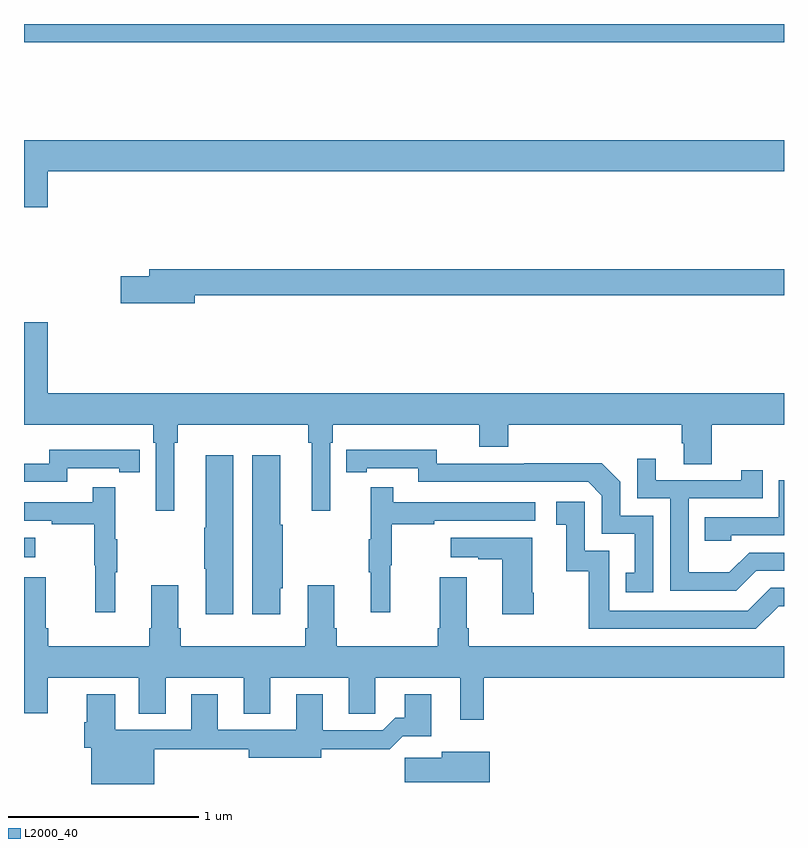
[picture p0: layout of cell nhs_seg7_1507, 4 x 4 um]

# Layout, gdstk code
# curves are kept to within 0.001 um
import gdstk
lib = gdstk.Library(unit=1e-6, precision=1e-09)
def R(c, l, rs):  # rectangles x0, y0, x1, y1
    for r in rs: c.add(gdstk.rectangle(r[:2], r[2:], *l))
def P(c, l, *ps):  # polygons
    for p in ps: c.add(gdstk.Polygon(p, *l))
L2000_40 = (2000, 40)

nhs_seg7_1507 = lib.new_cell('nhs_seg7_1507')
R(nhs_seg7_1507, L2000_40, [(213,1057.193,213.058,1057.297), (213,1059.904,217,1060)])
P(nhs_seg7_1507, L2000_40, [(213.124,1059.224),(217,1059.224),(217,1059.388),(213,1059.388),(213,1059.036),(213.124,1059.036)],
  [(213.898,1058.572),(217,1058.572),(217,1058.708),(213.659,1058.708),(213.659,1058.672),(213.51,1058.672),(213.51,1058.53),(213.898,1058.53)],
  [(213.79,1057.796),(213.809,1057.796),(213.809,1057.892),(214.495,1057.892),(214.495,1057.796),(214.514,1057.796),(214.514,1057.437),(214.611,1057.437),(214.611,1057.796),(214.625,1057.796),(214.625,1057.892),(215.396,1057.892),(215.396,1057.775),(215.549,1057.775),(215.549,1057.892),(216.461,1057.892),(216.461,1057.794),(216.473,1057.794),(216.473,1057.684),(216.621,1057.684),(216.621,1057.892),(217,1057.892),(217,1058.056),(213.124,1058.056),(213.124,1058.431),(213,1058.431),(213,1057.892),(213.68,1057.892),(213.68,1057.796),(213.693,1057.796),(213.693,1057.437),(213.79,1057.437)],
  [(213.228,1057.662),(213.5,1057.662),(213.5,1057.642),(213.608,1057.642),(213.608,1057.758),(213.5,1057.758),(213.5,1057.759),(213.132,1057.759),(213.132,1057.686),(213,1057.686),(213,1057.59),(213.228,1057.59)],
  [(216.312,1057.413),(216.138,1057.413),(216.138,1057.59),(216.04,1057.688),(215.632,1057.688),(215.632,1057.686),(215.172,1057.686),(215.172,1057.759),(214.696,1057.758),(214.696,1057.642),(214.804,1057.642),(214.804,1057.662),(215.076,1057.662),(215.076,1057.59),(215.97,1057.59),(216.042,1057.518),(216.042,1057.317),(216.215,1057.317),(216.215,1057.113),(216.166,1057.113),(216.166,1057.008),(216.312,1057.008)],
  [(214.348,1057.029),(214.363,1057.029),(214.363,1057.365),(214.348,1057.365),(214.348,1057.729),(214.202,1057.729),(214.202,1056.894),(214.348,1056.894)],
  [(214.102,1057.729),(213.956,1057.729),(213.956,1057.349),(213.949,1057.349),(213.949,1057.132),(213.956,1057.132),(213.956,1056.894),(214.102,1056.894)],
  [(216.853,1057.122),(217,1057.122),(217,1057.218),(216.816,1057.218),(216.712,1057.114),(216.498,1057.114),(216.498,1057.503),(216.887,1057.503),(216.887,1057.651),(216.776,1057.651),(216.776,1057.599),(216.325,1057.599),(216.325,1057.711),(216.228,1057.711),(216.228,1057.503),(216.402,1057.503),(216.402,1057.017),(216.748,1057.017)],
  [(216.723,1057.308),(217,1057.308),(217,1057.599),(216.972,1057.599),(216.972,1057.404),(216.583,1057.404),(216.583,1057.281),(216.723,1057.281)],
  [(213.479,1057.115),(213.49,1057.115),(213.49,1057.289),(213.479,1057.289),(213.479,1057.561),(213.361,1057.561),(213.361,1057.482),(213,1057.482),(213,1057.386),(213.145,1057.386),(213.145,1057.366),(213.369,1057.366),(213.369,1057.152),(213.376,1057.152),(213.376,1056.903),(213.479,1056.903)],
  [(214.928,1057.152),(214.936,1057.152),(214.936,1057.366),(215.159,1057.366),(215.159,1057.386),(215.692,1057.386),(215.692,1057.482),(214.943,1057.482),(214.943,1057.561),(214.826,1057.561),(214.826,1057.289),(214.815,1057.289),(214.815,1057.115),(214.826,1057.115),(214.826,1056.903),(214.928,1056.903)],
  [(216.972,1056.936),(217,1056.936),(217,1057.032),(216.93,1057.032),(216.81,1056.912),(216.081,1056.912),(216.081,1057.227),(215.952,1057.227),(215.952,1057.486),(215.802,1057.486),(215.802,1057.365),(215.855,1057.365),(215.855,1057.119),(215.973,1057.119),(215.973,1056.816),(216.852,1056.816)],
  [(215.682,1057.006),(215.674,1057.006),(215.674,1057.297),(215.247,1057.297),(215.247,1057.193),(215.39,1057.193),(215.39,1057.183),(215.516,1057.183),(215.516,1056.894),(215.682,1056.894)],
  [(215.419,1056.56),(217,1056.56),(217,1056.724),(215.342,1056.724),(215.342,1056.82),(215.329,1056.82),(215.329,1057.087),(215.189,1057.087),(215.189,1056.82),(215.177,1056.82),(215.177,1056.724),(214.646,1056.724),(214.646,1056.82),(214.633,1056.82),(214.633,1057.045),(214.493,1057.045),(214.493,1056.82),(214.481,1056.82),(214.481,1056.724),(213.824,1056.724),(213.824,1056.82),(213.811,1056.82),(213.811,1057.045),(213.671,1057.045),(213.671,1056.82),(213.659,1056.82),(213.659,1056.724),(213.128,1056.724),(213.128,1056.82),(213.115,1056.82),(213.115,1057.087),(213,1057.087),(213,1056.372),(213.124,1056.372),(213.124,1056.56),(213.605,1056.56),(213.605,1056.37),(213.745,1056.37),(213.745,1056.56),(214.157,1056.56),(214.157,1056.37),(214.297,1056.37),(214.297,1056.56),(214.709,1056.56),(214.709,1056.37),(214.848,1056.37),(214.848,1056.56),(215.297,1056.56),(215.297,1056.339),(215.419,1056.339)],
  [(213.685,1056.184),(214.184,1056.184),(214.184,1056.137),(214.564,1056.137),(214.564,1056.182),(214.925,1056.182),(214.994,1056.251),(215.143,1056.251),(215.143,1056.472),(215.003,1056.472),(215.003,1056.349),(214.954,1056.349),(214.887,1056.282),(214.573,1056.282),(214.573,1056.472),(214.433,1056.472),(214.433,1056.285),(214.021,1056.285),(214.021,1056.472),(213.881,1056.472),(213.881,1056.285),(213.481,1056.285),(213.481,1056.472),(213.329,1056.472),(213.329,1056.326),(213.317,1056.326),(213.317,1056.192),(213.353,1056.192),(213.353,1056),(213.685,1056)],
  [(215.452,1056.169),(215.198,1056.169),(215.198,1056.137),(215.004,1056.137),(215.004,1056.008),(215.452,1056.008)])

lib.write_gds('nhs_seg7_1507.gds')
